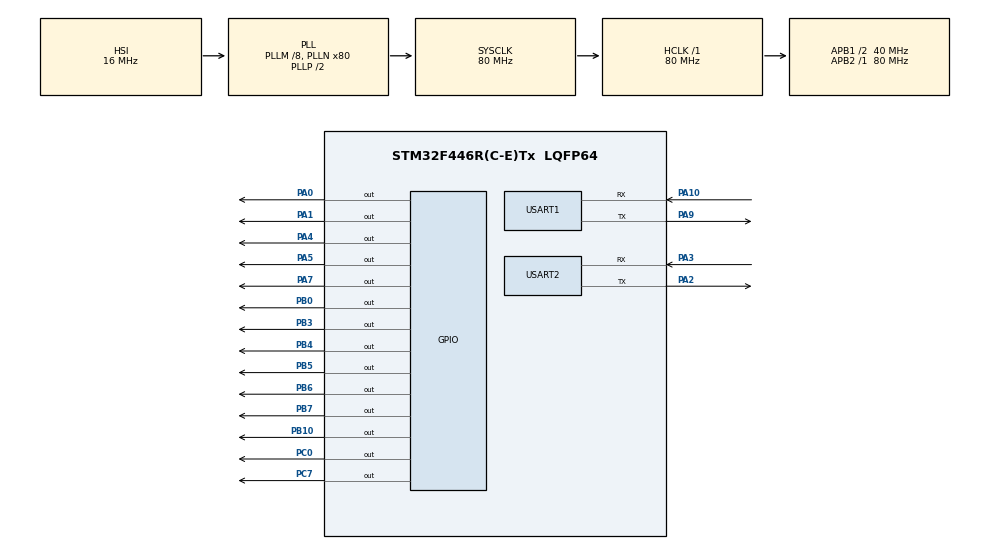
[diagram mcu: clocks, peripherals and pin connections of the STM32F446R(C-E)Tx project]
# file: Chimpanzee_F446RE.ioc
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Dma.Request0=USART1_RX
Dma.Request1=USART1_TX
Dma.Request2=USART2_RX
Dma.Request3=USART2_TX
Dma.USART1_RX.0.Direction=DMA_PERIPH_TO_MEMORY
Dma.USART1_RX.0.FIFOMode=DMA_FIFOMODE_DISABLE
Dma.USART1_RX.0.Instance=DMA2_Stream2
Dma.USART1_RX.0.MemDataAlignment=DMA_MDATAALIGN_BYTE
Dma.USART1_RX.0.MemInc=DMA_MINC_ENABLE
Dma.USART1_RX.0.Mode=DMA_CIRCULAR
Dma.USART1_RX.0.PeriphDataAlignment=DMA_PDATAALIGN_BYTE
Dma.USART1_RX.0.PeriphInc=DMA_PINC_DISABLE
Dma.USART1_RX.0.Priority=DMA_PRIORITY_LOW
Dma.USART1_TX.1.Direction=DMA_MEMORY_TO_PERIPH
Dma.USART1_TX.1.FIFOMode=DMA_FIFOMODE_DISABLE
Dma.USART1_TX.1.Instance=DMA2_Stream7
Dma.USART1_TX.1.MemDataAlignment=DMA_MDATAALIGN_BYTE
Dma.USART1_TX.1.MemInc=DMA_MINC_ENABLE
Dma.USART1_TX.1.Mode=DMA_NORMAL
Dma.USART1_TX.1.PeriphDataAlignment=DMA_PDATAALIGN_BYTE
Dma.USART1_TX.1.PeriphInc=DMA_PINC_DISABLE
Dma.USART1_TX.1.Priority=DMA_PRIORITY_LOW
Dma.USART2_RX.2.Direction=DMA_PERIPH_TO_MEMORY
Dma.USART2_RX.2.FIFOMode=DMA_FIFOMODE_DISABLE
Dma.USART2_RX.2.Instance=DMA1_Stream5
Dma.USART2_RX.2.MemDataAlignment=DMA_MDATAALIGN_BYTE
Dma.USART2_RX.2.MemInc=DMA_MINC_ENABLE
Dma.USART2_RX.2.Mode=DMA_CIRCULAR
Dma.USART2_RX.2.PeriphDataAlignment=DMA_PDATAALIGN_BYTE
Dma.USART2_RX.2.PeriphInc=DMA_PINC_DISABLE
Dma.USART2_RX.2.Priority=DMA_PRIORITY_LOW
Dma.USART2_TX.3.Direction=DMA_MEMORY_TO_PERIPH
Dma.USART2_TX.3.FIFOMode=DMA_FIFOMODE_DISABLE
Dma.USART2_TX.3.Instance=DMA1_Stream6
Dma.USART2_TX.3.MemDataAlignment=DMA_MDATAALIGN_BYTE
Dma.USART2_TX.3.MemInc=DMA_MINC_ENABLE
Dma.USART2_TX.3.Mode=DMA_NORMAL
Dma.USART2_TX.3.PeriphDataAlignment=DMA_PDATAALIGN_BYTE
Dma.USART2_TX.3.PeriphInc=DMA_PINC_DISABLE
Dma.USART2_TX.3.Priority=DMA_PRIORITY_LOW
Mcu.Family=STM32F4
Mcu.Name=STM32F446R(C-E)Tx
Mcu.Package=LQFP64
NVIC.DMA1_Stream5_IRQn=true\:3\:0\:true\:true\:true\:9\:false\:true\:true
NVIC.DMA1_Stream6_IRQn=true\:1\:0\:true\:true\:true\:3\:false\:true\:true
NVIC.DMA2_Stream2_IRQn=true\:3\:0\:true\:true\:true\:10\:false\:true\:true
NVIC.DMA2_Stream7_IRQn=true\:1\:0\:true\:true\:true\:4\:false\:true\:true
NVIC.PriorityGroup=NVIC_PRIORITYGROUP_4
NVIC.TIM1_CC_IRQn=true\:2\:0\:true\:true\:true\:8\:true\:true\:true
NVIC.TIM2_IRQn=true\:2\:0\:true\:true\:true\:7\:true\:true\:true
NVIC.TIM6_DAC_IRQn=true\:3\:0\:true\:true\:true\:11\:true\:true\:true
NVIC.TIM8_BRK_TIM12_IRQn=true\:2\:0\:true\:true\:true\:5\:true\:true\:true
NVIC.TIM8_UP_TIM13_IRQn=true\:2\:0\:true\:true\:true\:6\:true\:true\:true
NVIC.USART1_IRQn=true\:1\:0\:true\:true\:true\:1\:true\:true\:true
NVIC.USART2_IRQn=true\:1\:0\:true\:true\:true\:2\:true\:true\:true
PA0-WKUP.Signal=GPIO_Output
PA1.Signal=GPIO_Output
PA10.Mode=Asynchronous
PA10.Signal=USART1_RX
PA2.Mode=Asynchronous
PA2.Signal=USART2_TX
PA3.Mode=Asynchronous
PA3.Signal=USART2_RX
PA4.Signal=GPIO_Output
PA5.Signal=GPIO_Output
PA7.Signal=GPIO_Output
PA9.Mode=Asynchronous
PA9.Signal=USART1_TX
PB0.Signal=GPIO_Output
PB10.Signal=GPIO_Output
PB3.Signal=GPIO_Output
PB4.Signal=GPIO_Output
PB5.Signal=GPIO_Output
PB6.Signal=GPIO_Output
PB7.Signal=GPIO_Output
PC0.Signal=GPIO_Output
PC7.Signal=GPIO_Output
ProjectManager.HeapSize=0x200
ProjectManager.StackSize=0x400
ProjectManager.TargetToolchain=STM32CubeIDE
RCC.48MHZClocksFreq_Value=84000000
RCC.AHBFreq_Value=80000000
RCC.APB1CLKDivider=RCC_HCLK_DIV2
RCC.APB1Freq_Value=40000000
RCC.APB1TimFreq_Value=80000000
RCC.APB2Freq_Value=80000000
RCC.APB2TimFreq_Value=80000000
RCC.CortexFreq_Value=80000000
RCC.FLatency-AdvancedSettings=FLASH_LATENCY_2
RCC.HCLKFreq_Value=80000000
RCC.HSE_VALUE=8000000
RCC.HSI_VALUE=16000000
RCC.PLLM=8
RCC.PLLN=80
RCC.SYSCLKFreq_VALUE=80000000
RCC.SYSCLKSource=RCC_SYSCLKSOURCE_PLLCLK
RCC.USBFreq_Value=80000000
RCC.VCOOutputFreq_Value=160000000
TIM1.Channel-PWM\ Generation1\ No\ Output=TIM_CHANNEL_1
TIM1.Channel-PWM\ Generation2\ No\ Output=TIM_CHANNEL_2
TIM1.Channel-PWM\ Generation3\ No\ Output=TIM_CHANNEL_3
TIM1.Channel-PWM\ Generation4\ No\ Output=TIM_CHANNEL_4
TIM1.OC1Preload_PWM=DISABLE
TIM1.OC2Preload_PWM=DISABLE
TIM1.OC3Preload_PWM=DISABLE
TIM1.OC4Preload_PWM=DISABLE
TIM1.Period=19999
TIM1.Prescaler=79
TIM1.Pulse-PWM\ Generation1\ No\ Output=1540
TIM1.Pulse-PWM\ Generation2\ No\ Output=1540
TIM1.Pulse-PWM\ Generation3\ No\ Output=1540
TIM1.Pulse-PWM\ Generation4\ No\ Output=1540
TIM12.Channel-PWM\ Generation1\ No\ Output=TIM_CHANNEL_1
TIM12.OC1Preload_PWM=DISABLE
TIM12.Period=255
TIM12.Prescaler=300
TIM12.Pulse-PWM\ Generation1\ No\ Output=127
TIM13.Channel=TIM_CHANNEL_1
TIM13.OC1Preload_PWM=DISABLE
TIM13.Period=255
TIM13.Prescaler=1040
TIM13.Pulse=127
TIM2.Channel-PWM\ Generation1\ No\ Output=TIM_CHANNEL_1
TIM2.Channel-PWM\ Generation2\ No\ Output=TIM_CHANNEL_2
TIM2.Channel-PWM\ Generation3\ No\ Output=TIM_CHANNEL_3
TIM2.Channel-PWM\ Generation4\ No\ Output=TIM_CHANNEL_4
TIM2.OC1Preload_PWM=DISABLE
TIM2.OC2Preload_PWM=DISABLE
TIM2.OC3Preload_PWM=DISABLE
TIM2.OC4Preload_PWM=DISABLE
TIM2.Period=19999
TIM2.Prescaler=79
TIM2.Pulse-PWM\ Generation1\ No\ Output=1540
TIM2.Pulse-PWM\ Generation2\ No\ Output=1540
TIM2.Pulse-PWM\ Generation3\ No\ Output=1540
TIM2.Pulse-PWM\ Generation4\ No\ Output=1540
TIM6.Period=99
TIM6.Prescaler=7999
USART1.VirtualMode=VM_ASYNC
USART2.VirtualMode=VM_ASYNC
VP_TIM12_VS_no_output1.Mode=PWM Generation1 No Output
VP_TIM13_VS_ClockSourceINT.Mode=Enable_Timer
VP_TIM13_VS_no_output1.Mode=PWM Generation1 No Output
VP_TIM1_VS_no_output1.Mode=PWM Generation1 No Output
VP_TIM1_VS_no_output2.Mode=PWM Generation2 No Output
VP_TIM1_VS_no_output3.Mode=PWM Generation3 No Output
VP_TIM1_VS_no_output4.Mode=PWM Generation4 No Output
VP_TIM2_VS_no_output1.Mode=PWM Generation1 No Output
VP_TIM2_VS_no_output2.Mode=PWM Generation2 No Output
VP_TIM2_VS_no_output3.Mode=PWM Generation3 No Output
VP_TIM2_VS_no_output4.Mode=PWM Generation4 No Output
VP_TIM6_VS_ClockSourceINT.Mode=Enable_Timer
board=NUCLEO-F446RE

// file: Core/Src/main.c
/* USER CODE BEGIN Header */
/**
  ******************************************************************************
  * @file           : main.c
  * @brief          : Main program body
  ******************************************************************************
  * @attention
  *
  * Copyright (c) 2025 STMicroelectronics.
  * All rights reserved.
  *
  * This software is licensed under terms that can be found in the LICENSE file
  * in the root directory of this software component.
  * If no LICENSE file comes with this software, it is provided AS-IS.
  *
  ******************************************************************************
  */
/* USER CODE END Header */
#include "main.h"
#include "dma.h"
#include "tim.h"
#include "usart.h"
#include "gpio.h"

/* USER CODE BEGIN Includes */
#include <string.h>
/* USER CODE END Includes */

/* USER CODE BEGIN PD */
#define DEBUG_EN 1

#define PIN_DIR_WRIST GPIO_PIN_4 // GPIOB
#define  PIN_EN_WRIST GPIO_PIN_5 // GPIOB
#define  PIN_DIR_HAND GPIO_PIN_7 // GPIOB

// Packets' Codes
#define CHIMP_INIT_SOP 0xFF
#define CHIMP_COMM_SOP 0xAA
#define CHIMP_HB_SOP   0xBB
#define CHIMP_EOP 	   0xEE
#define CHIMP_ESCAPE   0x7E

// Packet sizes, to be kept updated
#define   CHIMP_RX_PCKT_SIZE 27
#define   CHIMP_TX_PCKT_SIZE 50
#define CHIMP_RESP_PCKT_SIZE 8
#define   CHIMP_HB_PCKT_SIZE 7
// Init Packet Indexes
#define        CHIMP_INIT_SOP_IDX 0
#define    CHIMP_INIT_ADDRESS_IDX 1
#define    CHIMP_INIT_VERSION_IDX 2
#define CHIMP_INIT_SUBVERSION_IDX 3
#define  CHIMP_INIT_HB_PERIOD_IDX 4
#define       CHIMP_INIT_CRC8_IDX 5
#define        CHIMP_INIT_EOP_IDX 6

// Response Packet Indexes
#define        CHIMP_RESP_SOP_IDX 0
#define    CHIMP_RESP_ADDRESS_IDX 1
#define    CHIMP_RESP_VERSION_IDX 2
#define CHIMP_RESP_SUBVERSION_IDX 3
#define   CHIMP_RESP_RESPONSE_IDX 4
#define       CHIMP_RESP_CRC8_IDX 5
#define        CHIMP_RESP_EOP_IDX 6

// Heart Beat Packet Indexes
#define     CHIMP_HB_SOP_IDX 0
#define CHIMP_HB_ADDRESS_IDX 1
#define  CHIMP_HB_STATUS_IDX 2
#define CHIMP_HB_PAYLOAD_IDX 3
#define    CHIMP_HB_CRC8_IDX 4
#define     CHIMP_HB_EOP_IDX 5

// Response Packet - Response field codes
#define                 CHIMP_RESP_OK 0x00
#define CHIMP_RESP_OLD_VERSION_MASTER 0x01
#define  CHIMP_RESP_OLD_VERSION_SLAVE 0x02
#define        CHIMP_RESP_CRC_FAILURE 0x03

// HB Packet - Status field codes
#define CHIMP_HB_READY  0b00000000
#define CHIMP_HB_NREADY 0b00000001
/* USER CODE END PD */

/* USER CODE BEGIN PV */
typedef enum {
	CHIMP_OK,
	CHIMP_BUSY
} CHIMP_StatusTypeDef;

typedef struct {
	CHIMP_StatusTypeDef  				         Status;
	uint16_t                              Motor_Arg[11];
	uint8_t									       Tick;
	uint8_t         		   				  HB_Period;
	uint8_t           		   			   	    Version;
	uint8_t         						 SubVersion;
	uint8_t             				      FillIndex;
	uint8_t                                       Esc_f;
	uint8_t 			                    UART_Buffer;
	uint8_t                                CHIMP_Init_f;
	uint8_t                TxPacket[CHIMP_TX_PCKT_SIZE];
	uint8_t                RxPacket[CHIMP_RX_PCKT_SIZE];
	uint8_t             Resp_Pckt[CHIMP_RESP_PCKT_SIZE];
	uint8_t                 HB_Pckt[CHIMP_HB_PCKT_SIZE];
} CHIMP_TypeDef;

static CHIMP_TypeDef chimp;

uint8_t WRIST=0;
uint8_t CLAW=0;
uint8_t EN=0;
/* USER CODE END PV */

void SystemClock_Config(void);
static void MX_NVIC_Init(void);
/* USER CODE BEGIN PFP */
uint8_t CRC_Calculate(uint8_t pckt[], uint8_t size);

void CHIMP_UART_RXHandler () {
	// LED On
	HAL_GPIO_WritePin(GPIOA, GPIO_PIN_5, 1);

	uint8_t pcktFilled_f = 0;

	if ((chimp.UART_Buffer == CHIMP_EOP && !chimp.Esc_f) || chimp.FillIndex == (CHIMP_RX_PCKT_SIZE - 1)) {
		chimp.RxPacket[chimp.FillIndex] = chimp.UART_Buffer;
		pcktFilled_f = 1;
	}
	else if (chimp.UART_Buffer == CHIMP_ESCAPE && !chimp.Esc_f) {
		chimp.Esc_f = 1;
	}
	else {
		chimp.RxPacket[chimp.FillIndex] = chimp.UART_Buffer;
		chimp.FillIndex++;
		chimp.Esc_f = 0;
	}

	if (pcktFilled_f) {
		// LED Off
		HAL_GPIO_WritePin(GPIOA, GPIO_PIN_5, 0);

		// Check if Address field contains current board address
		if (chimp.RxPacket[1] == 0x00 && chimp.FillIndex >= 6) {

			if (chimp.RxPacket[0] == CHIMP_INIT_SOP) {
				// Response field evaluation //

				// Perform CRC-8 check
				if (CRC_Calculate(chimp.RxPacket, CHIMP_INIT_CRC8_IDX) != chimp.RxPacket[CHIMP_INIT_CRC8_IDX])
					chimp.Resp_Pckt[CHIMP_RESP_RESPONSE_IDX] = CHIMP_RESP_CRC_FAILURE;
				// If there is no other failure, perform version check
				else {
					if (chimp.Version == chimp.RxPacket[CHIMP_INIT_VERSION_IDX]) {
						if (chimp.SubVersion == chimp.RxPacket[CHIMP_INIT_SUBVERSION_IDX]) {
							chimp.Resp_Pckt[CHIMP_RESP_RESPONSE_IDX] = CHIMP_RESP_OK;
						}
						else if (chimp.SubVersion < chimp.RxPacket[CHIMP_INIT_SUBVERSION_IDX]) {
							chimp.Resp_Pckt[CHIMP_RESP_RESPONSE_IDX] = CHIMP_RESP_OLD_VERSION_SLAVE;
						}
						else chimp.Resp_Pckt[CHIMP_RESP_RESPONSE_IDX] = CHIMP_RESP_OLD_VERSION_MASTER;
					}
					else if (chimp.Version < chimp.RxPacket[CHIMP_INIT_VERSION_IDX]) {
						chimp.Resp_Pckt[CHIMP_RESP_RESPONSE_IDX] = CHIMP_RESP_OLD_VERSION_SLAVE;
					}
					else chimp.Resp_Pckt[CHIMP_RESP_RESPONSE_IDX] = CHIMP_RESP_OLD_VERSION_MASTER;
				}

				// ------------------------- //

				// Response Packet CRC8 calculation
				uint8_t tmp = CRC_Calculate(chimp.Resp_Pckt, CHIMP_RESP_CRC8_IDX);
				uint8_t offset = 0;
				if (tmp == CHIMP_ESCAPE || tmp == CHIMP_INIT_SOP || tmp == CHIMP_COMM_SOP || tmp == CHIMP_HB_SOP || tmp == CHIMP_EOP) {
					chimp.Resp_Pckt[CHIMP_RESP_CRC8_IDX] = CHIMP_ESCAPE;
					offset = 1;
				}
				chimp.Resp_Pckt[CHIMP_RESP_CRC8_IDX + offset] = tmp;
				chimp.Resp_Pckt[CHIMP_RESP_EOP_IDX  + offset] = CHIMP_EOP;

				// No Errors, update HB period
				if (chimp.Resp_Pckt[CHIMP_RESP_RESPONSE_IDX] == CHIMP_RESP_OK) {
					// Setting HB period and starting generation of HB packets
					chimp.HB_Period = chimp.RxPacket[CHIMP_INIT_HB_PERIOD_IDX] + 1;
				}

				// Send Response Packet
				#if (DEBUG_EN == 1)
					HAL_TIM_Base_Stop(&htim6);
					HAL_UART_Transmit(&huart2, chimp.Resp_Pckt, (CHIMP_RESP_PCKT_SIZE - 1 + offset), 10);
					HAL_TIM_Base_Start_IT(&htim6);
				#else
					while (huart1.gState != HAL_UART_STATE_READY);
					HAL_UART_Transmit_DMA(&huart1, chimp.Resp_Pckt, (CHIMP_RESP_PCKT_SIZE - 1 + offset));
				#endif

				if (!chimp.CHIMP_Init_f) {
					chimp.CHIMP_Init_f = 1;
					// If first Init, start Motors PWM and HB Timers
					HAL_TIM_Base_Start_IT(&htim1);
					HAL_TIM_Base_Start_IT(&htim2);
					HAL_TIM_Base_Start_IT(&htim6);

				    // Set Output Compare IT for Motors and Arm PWMs
				    HAL_TIM_OC_Start_IT(&htim1,TIM_CHANNEL_1);
				    HAL_TIM_OC_Start_IT(&htim1,TIM_CHANNEL_2);
				    HAL_TIM_OC_Start_IT(&htim1,TIM_CHANNEL_3);
				    HAL_TIM_OC_Start_IT(&htim1,TIM_CHANNEL_4);

				    HAL_TIM_OC_Start_IT(&htim2,TIM_CHANNEL_1);
				    HAL_TIM_OC_Start_IT(&htim2,TIM_CHANNEL_2);
				    HAL_TIM_OC_Start_IT(&htim2,TIM_CHANNEL_3);
				    HAL_TIM_OC_Start_IT(&htim2,TIM_CHANNEL_4);

				    HAL_TIM_OC_Start_IT(&htim12,TIM_CHANNEL_1);

				    HAL_TIM_OC_Start_IT(&htim13,TIM_CHANNEL_1);
				}
			}
			else {
				// Perform CRC-8 check
				chimp.RxPacket[0] = CHIMP_COMM_SOP;
				if (chimp.CHIMP_Init_f && CRC_Calculate(chimp.RxPacket, (chimp.FillIndex - 1)) == chimp.RxPacket[chimp.FillIndex - 1]) {
					memcpy(chimp.Motor_Arg, (chimp.RxPacket + 3), (chimp.FillIndex - 4));

					if (!chimp.RxPacket[2]) {
						htim1.Instance->CCR1 = chimp.Motor_Arg[0] + 40;
						htim1.Instance->CCR2 = chimp.Motor_Arg[1] + 40;
						htim1.Instance->CCR3 = chimp.Motor_Arg[2] + 40;
						htim1.Instance->CCR4 = chimp.Motor_Arg[3] + 40;

						htim2.Instance->CCR1 = chimp.Motor_Arg[4] + 40;
						htim2.Instance->CCR2 = chimp.Motor_Arg[5] + 40;
						htim2.Instance->CCR3 = chimp.Motor_Arg[6] + 40;
						htim2.Instance->CCR4 = chimp.Motor_Arg[7] + 40;
					} else {
						switch((uint16_t) chimp.RxPacket[3]) {
						case 0:
							HAL_GPIO_WritePin(GPIOB, PIN_DIR_WRIST, 1);
							HAL_GPIO_WritePin(GPIOB,  PIN_EN_WRIST, 0);
							HAL_TIM_Base_Start_IT(&htim12);
							EN=0;
							break;
						case 1:
							HAL_GPIO_WritePin(GPIOB, PIN_DIR_WRIST, 0);
							HAL_GPIO_WritePin(GPIOB,  PIN_EN_WRIST, 0);
							HAL_TIM_Base_Start_IT(&htim12);
							EN=0;
							break;
						case 2:
							HAL_TIM_Base_Stop_IT(&htim12);
							HAL_GPIO_WritePin(GPIOB, PIN_EN_WRIST, 1);
							EN=1;
							break;
						case 3: //open claw
							HAL_GPIO_WritePin(GPIOB, PIN_DIR_HAND, 1);
							HAL_TIM_Base_Start_IT(&htim13);
							break;
						case 4: //close claw
							HAL_GPIO_WritePin(GPIOB, PIN_DIR_HAND, 0);
							HAL_TIM_Base_Start_IT(&htim13);
							break;
						case 5: //stop claw
							HAL_TIM_Base_Stop_IT(&htim13);
							break;
						case 6:
							HAL_GPIO_WritePin(GPIOB, PIN_EN_WRIST, 0);
							HAL_TIM_Base_Stop_IT(&htim12);
							EN=0;
							break;
						case 7:
							HAL_GPIO_WritePin(GPIOB, PIN_EN_WRIST, 1);
							HAL_TIM_Base_Stop_IT(&htim12);
							EN=1;
							break;
						}
					}
				}
			}
		}

		// Resetting Communication Packet
		memset(chimp.RxPacket, 0, chimp.FillIndex + 1);

		chimp.Esc_f = 0;
		chimp.FillIndex = 0;
	}
}
/* USER CODE END PFP */

int main(void)
{

  /* MCU Configuration--------------------------------------------------------*/

  /* Reset of all peripherals, Initializes the Flash interface and the Systick. */
  HAL_Init();

  /* Configure the system clock */
  SystemClock_Config();

  /* Initialize all configured peripherals */
  MX_GPIO_Init();
  MX_DMA_Init();
  MX_USART2_UART_Init();
  MX_USART1_UART_Init();
  MX_TIM1_Init();
  MX_TIM2_Init();
  MX_TIM6_Init();
  MX_TIM12_Init();
  MX_TIM13_Init();

  /* Initialize interrupts */
  MX_NVIC_Init();
  /* USER CODE BEGIN 2 */
  // CHIMP initialization
  chimp. HB_Period = 1;
  chimp.   Version = 1;
  chimp.SubVersion = 0;

  // Fill Response Packet
  chimp.Resp_Pckt       [CHIMP_RESP_SOP_IDX] =   CHIMP_INIT_SOP;
  chimp.Resp_Pckt   [CHIMP_RESP_ADDRESS_IDX] =             0x00;
  chimp.Resp_Pckt   [CHIMP_RESP_VERSION_IDX] =    chimp.Version;
  chimp.Resp_Pckt[CHIMP_RESP_SUBVERSION_IDX] = chimp.SubVersion;

  // Fill HB Packet
  chimp.HB_Pckt    [CHIMP_HB_SOP_IDX] =   CHIMP_HB_SOP;
  chimp.HB_Pckt[CHIMP_HB_ADDRESS_IDX] =           0x00;
  chimp.HB_Pckt [CHIMP_HB_STATUS_IDX] = CHIMP_HB_READY;

  #if (DEBUG_EN == 0)
	  HAL_UART_Receive_DMA(&huart1, &chimp.UART_Buffer, 1);
  #endif

  // Wrist disable for safe initial state
  HAL_GPIO_WritePin(GPIOB, PIN_EN_WRIST, 1);
  EN=1;

  // Low Power Mode, not possible with BUSY WAIT
  //HAL_SuspendTick();
  //HAL_PWR_EnableSleepOnExit();
  //HAL_PWR_EnterSLEEPMode(PWR_MAINREGULATOR_ON, PWR_SLEEPENTRY_WFI);
  /* USER CODE END 2 */

  /* Infinite loop */
  while (1)
  {

    /* USER CODE BEGIN 3 */
	// Low Power Mode suitable for SysTick-based implementations, not possible with BUSY WAIT
  	//HAL_SuspendTick();
	//HAL_PWR_EnterSLEEPMode(PWR_MAINREGULATOR_ON, PWR_SLEEPENTRY_WFI);
	//HAL_ResumeTick();

	#if (DEBUG_EN == 1)
		if (HAL_UART_Receive(&huart2, &chimp.UART_Buffer, 1, 10) == HAL_OK) {
			CHIMP_UART_RXHandler();
		}
	#endif
  }
  /* USER CODE END 3 */
}

void SystemClock_Config(void)
{
  RCC_OscInitTypeDef RCC_OscInitStruct = {0};
  RCC_ClkInitTypeDef RCC_ClkInitStruct = {0};

  /** Configure the main internal regulator output voltage
  */
  __HAL_RCC_PWR_CLK_ENABLE();
  __HAL_PWR_VOLTAGESCALING_CONFIG(PWR_REGULATOR_VOLTAGE_SCALE3);

  /** Initializes the RCC Oscillators according to the specified parameters
  * in the RCC_OscInitTypeDef structure.
  */
  RCC_OscInitStruct.OscillatorType = RCC_OSCILLATORTYPE_HSI;
  RCC_OscInitStruct.HSIState = RCC_HSI_ON;
  RCC_OscInitStruct.HSICalibrationValue = RCC_HSICALIBRATION_DEFAULT;
  RCC_OscInitStruct.PLL.PLLState = RCC_PLL_ON;
  RCC_OscInitStruct.PLL.PLLSource = RCC_PLLSOURCE_HSI;
  RCC_OscInitStruct.PLL.PLLM = 8;
  RCC_OscInitStruct.PLL.PLLN = 80;
  RCC_OscInitStruct.PLL.PLLP = RCC_PLLP_DIV2;
  RCC_OscInitStruct.PLL.PLLQ = 2;
  RCC_OscInitStruct.PLL.PLLR = 2;
  if (HAL_RCC_OscConfig(&RCC_OscInitStruct) != HAL_OK)
  {
    Error_Handler();
  }

  /** Initializes the CPU, AHB and APB buses clocks
  */
  RCC_ClkInitStruct.ClockType = RCC_CLOCKTYPE_HCLK|RCC_CLOCKTYPE_SYSCLK
                              |RCC_CLOCKTYPE_PCLK1|RCC_CLOCKTYPE_PCLK2;
  RCC_ClkInitStruct.SYSCLKSource = RCC_SYSCLKSOURCE_PLLCLK;
  RCC_ClkInitStruct.AHBCLKDivider = RCC_SYSCLK_DIV1;
  RCC_ClkInitStruct.APB1CLKDivider = RCC_HCLK_DIV2;
  RCC_ClkInitStruct.APB2CLKDivider = RCC_HCLK_DIV1;

  if (HAL_RCC_ClockConfig(&RCC_ClkInitStruct, FLASH_LATENCY_2) != HAL_OK)
  {
    Error_Handler();
  }
}

/**
  * @brief NVIC Configuration.
  * @retval None
  */
static void MX_NVIC_Init(void)
{
  /* USART1_IRQn interrupt configuration */
  HAL_NVIC_SetPriority(USART1_IRQn, 1, 0);
  HAL_NVIC_EnableIRQ(USART1_IRQn);
  /* USART2_IRQn interrupt configuration */
  HAL_NVIC_SetPriority(USART2_IRQn, 1, 0);
  HAL_NVIC_EnableIRQ(USART2_IRQn);
  /* DMA1_Stream6_IRQn interrupt configuration */
  HAL_NVIC_SetPriority(DMA1_Stream6_IRQn, 1, 0);
  HAL_NVIC_EnableIRQ(DMA1_Stream6_IRQn);
  /* DMA2_Stream7_IRQn interrupt configuration */
  HAL_NVIC_SetPriority(DMA2_Stream7_IRQn, 1, 0);
  HAL_NVIC_EnableIRQ(DMA2_Stream7_IRQn);
  /* TIM8_BRK_TIM12_IRQn interrupt configuration */
  HAL_NVIC_SetPriority(TIM8_BRK_TIM12_IRQn, 2, 0);
  HAL_NVIC_EnableIRQ(TIM8_BRK_TIM12_IRQn);
  /* TIM8_UP_TIM13_IRQn interrupt configuration */
  HAL_NVIC_SetPriority(TIM8_UP_TIM13_IRQn, 2, 0);
  HAL_NVIC_EnableIRQ(TIM8_UP_TIM13_IRQn);
  /* TIM2_IRQn interrupt configuration */
  HAL_NVIC_SetPriority(TIM2_IRQn, 2, 0);
  HAL_NVIC_EnableIRQ(TIM2_IRQn);
  /* TIM1_CC_IRQn interrupt configuration */
  HAL_NVIC_SetPriority(TIM1_CC_IRQn, 2, 0);
  HAL_NVIC_EnableIRQ(TIM1_CC_IRQn);
  /* DMA1_Stream5_IRQn interrupt configuration */
  HAL_NVIC_SetPriority(DMA1_Stream5_IRQn, 3, 0);
  HAL_NVIC_EnableIRQ(DMA1_Stream5_IRQn);
  /* DMA2_Stream2_IRQn interrupt configuration */
  HAL_NVIC_SetPriority(DMA2_Stream2_IRQn, 3, 0);
  HAL_NVIC_EnableIRQ(DMA2_Stream2_IRQn);
  /* TIM6_DAC_IRQn interrupt configuration */
  HAL_NVIC_SetPriority(TIM6_DAC_IRQn, 3, 0);
  HAL_NVIC_EnableIRQ(TIM6_DAC_IRQn);
}

/* USER CODE BEGIN 4 */
void HAL_UART_RxCpltCallback(UART_HandleTypeDef *huart) {
	CHIMP_UART_RXHandler();
}

void HAL_TIM_PWM_PulseFinishedCallback(TIM_HandleTypeDef* htim){
	if(htim->Instance == TIM1 ) {
		if(htim->Channel == HAL_TIM_ACTIVE_CHANNEL_1) {
			HAL_GPIO_WritePin(GPIOB, GPIO_PIN_10, 0); // FDX: PB10 | D6
		}
		if(htim->Channel == HAL_TIM_ACTIVE_CHANNEL_2) {
			HAL_GPIO_WritePin(GPIOC,  GPIO_PIN_7, 0); // FSX:   C7 | D9
		}
		if(htim->Channel == HAL_TIM_ACTIVE_CHANNEL_3) {
			HAL_GPIO_WritePin(GPIOA,  GPIO_PIN_4, 0); // RDX:  PA4 | A2
		}
		if(htim->Channel == HAL_TIM_ACTIVE_CHANNEL_4) {
			HAL_GPIO_WritePin(GPIOB,  GPIO_PIN_6, 0); // RSX:  PB6 | D10
		}
	}
	else if(htim->Instance == TIM2) {
		if(htim->Channel == HAL_TIM_ACTIVE_CHANNEL_1) {
			HAL_GPIO_WritePin(GPIOB, GPIO_PIN_0, 0); // UPFDX: PB0 | A3
		}
		if(htim->Channel == HAL_TIM_ACTIVE_CHANNEL_2) {
			HAL_GPIO_WritePin(GPIOC, GPIO_PIN_0, 0); // UPFSX: PC0 | A5
		}
		if(htim->Channel == HAL_TIM_ACTIVE_CHANNEL_3) {
			HAL_GPIO_WritePin(GPIOA, GPIO_PIN_0, 0); // UPRDX: PA0 | A0
		}
		if(htim->Channel == HAL_TIM_ACTIVE_CHANNEL_4) {
			HAL_GPIO_WritePin(GPIOB, GPIO_PIN_3, 0); // UPRSX: PB3 | D3
		}
	}
	else if(htim->Instance == TIM12) {
		if(htim->Channel == HAL_TIM_ACTIVE_CHANNEL_1) {
			HAL_GPIO_WritePin(GPIOA, GPIO_PIN_1, 0);
			WRIST=0;
		}
	}
	else if(htim->Instance == TIM13) {
		if(htim->Channel == HAL_TIM_ACTIVE_CHANNEL_1) {
			HAL_GPIO_WritePin(GPIOA, GPIO_PIN_7, 0);
			CLAW=0;
		}
	}
}

void HAL_TIM_PeriodElapsedCallback(TIM_HandleTypeDef* htim){
	if (htim->Instance == TIM6) {
		chimp.Tick++;

		if (chimp.Tick == chimp.HB_Period) {
			chimp.HB_Pckt[CHIMP_HB_PAYLOAD_IDX] = 0x00;

			// HB Packet CRC8 calculation
			uint8_t tmp = CRC_Calculate(chimp.HB_Pckt, CHIMP_HB_CRC8_IDX);
			uint8_t offset = 0;
			if (tmp == CHIMP_ESCAPE || tmp == CHIMP_INIT_SOP || tmp == CHIMP_COMM_SOP || tmp == CHIMP_HB_SOP || tmp == CHIMP_EOP) {
				chimp.HB_Pckt[CHIMP_HB_CRC8_IDX] = CHIMP_ESCAPE;
				offset = 1;
			}
			chimp.HB_Pckt[CHIMP_HB_CRC8_IDX + offset] = tmp;
			chimp.HB_Pckt[CHIMP_HB_EOP_IDX  + offset] = CHIMP_EOP;

			// Send Init Response Packet
			#if (DEBUG_EN == 1)
				HAL_UART_Transmit(&huart2, chimp.HB_Pckt, (CHIMP_HB_PCKT_SIZE - 1 + offset), 10);
			#else
				while (huart1.gState != HAL_UART_STATE_READY);
				HAL_UART_Transmit_DMA(&huart1, chimp.HB_Pckt, (CHIMP_HB_PCKT_SIZE - 1 + offset));
			#endif

			chimp.Tick = 0;
		}
	}
	else if (htim->Instance == TIM1) {            // Communication Packet Args order
		HAL_GPIO_WritePin(GPIOC,   GPIO_PIN_7, 1); // 1
		HAL_GPIO_WritePin(GPIOB,  GPIO_PIN_10, 1); // 2
		HAL_GPIO_WritePin(GPIOB,   GPIO_PIN_6, 1); // 3
		HAL_GPIO_WritePin(GPIOA,   GPIO_PIN_4, 1); // 4
    }
	else if (htim->Instance == TIM2) {
		HAL_GPIO_WritePin(GPIOC, GPIO_PIN_0, 1); // 5
		HAL_GPIO_WritePin(GPIOB, GPIO_PIN_0, 1); // 6
		HAL_GPIO_WritePin(GPIOB, GPIO_PIN_3, 1); // 7
		HAL_GPIO_WritePin(GPIOA, GPIO_PIN_0, 1); // 8
	}
	else if (htim->Instance == TIM12) {
		HAL_GPIO_WritePin(GPIOA, GPIO_PIN_1, 1);
		WRIST=1;
	}
	else if (htim->Instance == TIM13) {
		HAL_GPIO_WritePin(GPIOA, GPIO_PIN_7, 1);
		CLAW=1;
	}
}

uint8_t CRC_Calculate(uint8_t pckt[], uint8_t size) {
	uint8_t crc = 0;
	uint8_t poly = 7;
	for (int i = 0; i < size; i++) {
		crc ^= pckt[i];
		for (int j = 0; j < 8; j++) {
			if (crc & 0x80) crc = (crc << 1) ^ poly;
			else crc = crc << 1;
		}
	}
	return crc;
}
/* USER CODE END 4 */

void Error_Handler(void)
{
  __disable_irq();
  while (1)
  {
  }
}
